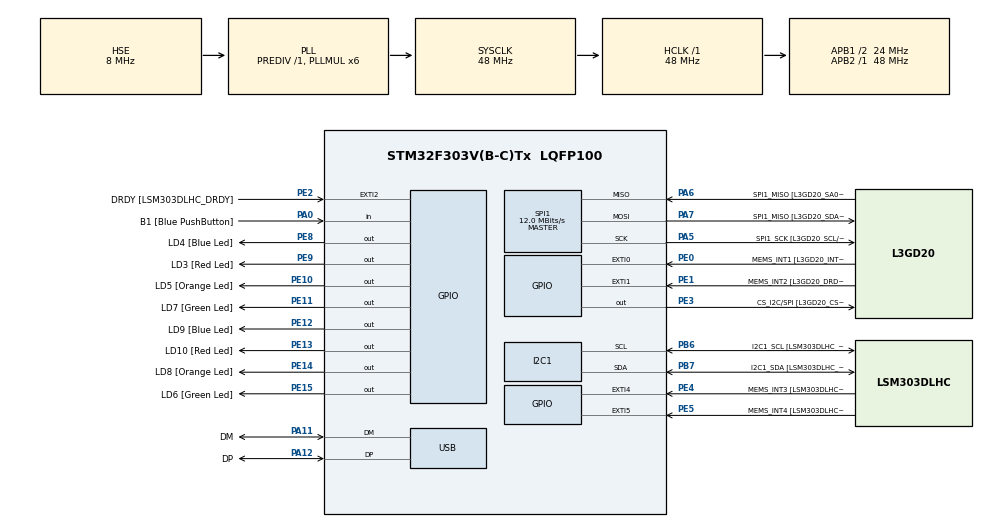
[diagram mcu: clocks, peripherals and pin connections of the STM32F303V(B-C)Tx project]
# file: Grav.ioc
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I2C1.Timing-I2C=0x2000090E
Mcu.Family=STM32F3
Mcu.Name=STM32F303V(B-C)Tx
Mcu.Package=LQFP100
NVIC.PriorityGroup=NVIC_PRIORITYGROUP_0
NVIC.USB_LP_CAN_RX0_IRQn=true\:0\:0\:false\:false\:true\:false\:true\:true
PA0.GPIO_Label=B1 [Blue PushButton]
PA0.Signal=GPIO_Input
PA11.GPIO_Label=DM
PA11.Mode=Device
PA11.Signal=USB_DM
PA12.GPIO_Label=DP
PA12.Mode=Device
PA12.Signal=USB_DP
PA13.GPIO_Label=SWDIO
PA13.Mode=Serial_Wire
PA13.Signal=SYS_JTMS-SWDIO
PA14.GPIO_Label=SWCLK
PA14.Mode=Serial_Wire
PA14.Signal=SYS_JTCK-SWCLK
PA5.GPIO_Label=SPI1_SCK [L3GD20_SCL/SPC]
PA5.Mode=Full_Duplex_Master
PA5.Signal=SPI1_SCK
PA6.GPIO_Label=SPI1_MISO [L3GD20_SA0/SDO]
PA6.Mode=Full_Duplex_Master
PA6.Signal=SPI1_MISO
PA7.GPIO_Label=SPI1_MISO [L3GD20_SDA/SDI/SDO]
PA7.Mode=Full_Duplex_Master
PA7.Signal=SPI1_MOSI
PB3.GPIO_Label=SWO
PB3.Signal=SYS_JTDO-TRACESWO
PB6.GPIO_Label=I2C1_SCL [LSM303DLHC_SCL]
PB6.GPIO_Pu=GPIO_PULLUP
PB6.Mode=I2C
PB6.Signal=I2C1_SCL
PB7.GPIO_Label=I2C1_SDA [LSM303DLHC_SDA]
PB7.GPIO_Pu=GPIO_PULLUP
PB7.Mode=I2C
PB7.Signal=I2C1_SDA
PC14-OSC32_IN.GPIO_Label=OSC32_IN
PC14-OSC32_IN.Signal=RCC_OSC32_IN
PC15-OSC32_OUT.GPIO_Label=OSC32_OUT
PC15-OSC32_OUT.Signal=RCC_OSC32_OUT
PE0.GPIO_Label=MEMS_INT1 [L3GD20_INT1]
PE0.GPIO_ModeDefaultEXTI=GPIO_MODE_EVT_RISING
PE0.Signal=GPXTI0
PE1.GPIO_Label=MEMS_INT2 [L3GD20_DRDY/INT2]
PE1.GPIO_ModeDefaultEXTI=GPIO_MODE_EVT_RISING
PE1.Signal=GPXTI1
PE10.GPIO_Label=LD5 [Orange Led]
PE10.Signal=GPIO_Output
PE11.GPIO_Label=LD7 [Green Led]
PE11.Signal=GPIO_Output
PE12.GPIO_Label=LD9 [Blue Led]
PE12.Signal=GPIO_Output
PE13.GPIO_Label=LD10 [Red Led]
PE13.Signal=GPIO_Output
PE14.GPIO_Label=LD8 [Orange Led]
PE14.Signal=GPIO_Output
PE15.GPIO_Label=LD6 [Green Led]
PE15.Signal=GPIO_Output
PE2.GPIO_Label=DRDY [LSM303DLHC_DRDY]
PE2.GPIO_ModeDefaultEXTI=GPIO_MODE_EVT_RISING
PE2.Signal=GPXTI2
PE3.GPIO_Label=CS_I2C/SPI [L3GD20_CS_I2C/SPI]
PE3.Signal=GPIO_Output
PE4.GPIO_Label=MEMS_INT3 [LSM303DLHC_INT1]
PE4.GPIO_ModeDefaultEXTI=GPIO_MODE_EVT_RISING
PE4.Signal=GPXTI4
PE5.GPIO_Label=MEMS_INT4 [LSM303DLHC_INT2]
PE5.GPIO_ModeDefaultEXTI=GPIO_MODE_EVT_RISING
PE5.Signal=GPXTI5
PE8.GPIO_Label=LD4 [Blue Led]
PE8.Signal=GPIO_Output
PE9.GPIO_Label=LD3 [Red Led]
PE9.Signal=GPIO_Output
PF0-OSC_IN.GPIO_Label=OSC_IN
PF0-OSC_IN.Mode=HSE-External-Clock-Source
PF0-OSC_IN.Signal=RCC_OSC_IN
PF1-OSC_OUT.GPIO_Label=OSC_OUT
PF1-OSC_OUT.Signal=RCC_OSC_OUT
ProjectManager.HeapSize=0x200
ProjectManager.StackSize=0x400
ProjectManager.TargetToolchain=STM32CubeIDE
RCC.AHBFreq_Value=48000000
RCC.APB1CLKDivider=RCC_HCLK_DIV2
RCC.APB1Freq_Value=24000000
RCC.APB1TimFreq_Value=48000000
RCC.APB2Freq_Value=48000000
RCC.APB2TimFreq_Value=48000000
RCC.CortexFreq_Value=48000000
RCC.HCLKFreq_Value=48000000
RCC.HSE_VALUE=8000000
RCC.HSI_VALUE=8000000
RCC.LSE_VALUE=32768
RCC.PLLMUL=RCC_PLL_MUL6
RCC.SYSCLKFreq_VALUE=48000000
RCC.SYSCLKSourceVirtual=RCC_SYSCLKSOURCE_PLLCLK
RCC.USBFreq_Value=48000000
SPI1.BaudRatePrescaler=SPI_BAUDRATEPRESCALER_4
SPI1.BaudRatePrescaler-Full_Duplex_Master=SPI_BAUDRATEPRESCALER_2
SPI1.CalculateBaudRate=12.0 MBits/s
SPI1.CalculateBaudRate-Full_Duplex_Master=24.0 MBits/s
SPI1.Direction=SPI_DIRECTION_2LINES
SPI1.Mode=SPI_MODE_MASTER
SPI1.Mode-Full_Duplex_Master=SPI_MODE_MASTER
SPI1.VirtualType=VM_MASTER
USB_DEVICE.CLASS_NAME_FS=CDC
USB_DEVICE.VirtualMode=Cdc
USB_DEVICE.VirtualModeFS=Cdc_FS
VP_USB_DEVICE_VS_USB_DEVICE_CDC_FS.Mode=CDC_FS
board=STM32F3DISCOVERY

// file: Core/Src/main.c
/* USER CODE BEGIN Header */
/**
  ******************************************************************************
  * @file           : main.c
  * @brief          : Main program body
  ******************************************************************************
  * @attention
  *
  * Copyright (c) 2024 STMicroelectronics.
  * All rights reserved.
  *
  * This software is licensed under terms that can be found in the LICENSE file
  * in the root directory of this software component.
  * If no LICENSE file comes with this software, it is provided AS-IS.
  *
  ******************************************************************************
  */
/* USER CODE END Header */
#include "main.h"
#include "usb_device.h"

I2C_HandleTypeDef hi2c1;

SPI_HandleTypeDef hspi1;

void SystemClock_Config(void);
static void MX_GPIO_Init(void);
static void MX_I2C1_Init(void);
static void MX_SPI1_Init(void);

int main(void)
{

  /* MCU Configuration--------------------------------------------------------*/

  /* Reset of all peripherals, Initializes the Flash interface and the Systick. */
  HAL_Init();

  /* Configure the system clock */
  SystemClock_Config();

  /* Initialize all configured peripherals */
  MX_GPIO_Init();
  MX_I2C1_Init();
  MX_SPI1_Init();
  MX_USB_DEVICE_Init();
  BSP_ACCELERO_Init();
  COMPASSACCELERO_IO_Init();

  /* Infinite loop */
  /* USER CODE BEGIN WHILE */
  while (1)
  {
	int16_t accelData[3];
    /* USER CODE END WHILE */
    /* USER CODE BEGIN 3 */
	BSP_ACCELERO_GetXYZ(accelData);
	showLevel(accelData);
	transmitCoords(accelData);
	HAL_Delay(100);
  }
  /* USER CODE END 3 */
}

void SystemClock_Config(void)
{
  RCC_OscInitTypeDef RCC_OscInitStruct = {0};
  RCC_ClkInitTypeDef RCC_ClkInitStruct = {0};
  RCC_PeriphCLKInitTypeDef PeriphClkInit = {0};

  /** Initializes the RCC Oscillators according to the specified parameters
  * in the RCC_OscInitTypeDef structure.
  */
  RCC_OscInitStruct.OscillatorType = RCC_OSCILLATORTYPE_HSI|RCC_OSCILLATORTYPE_HSE;
  RCC_OscInitStruct.HSEState = RCC_HSE_BYPASS;
  RCC_OscInitStruct.HSEPredivValue = RCC_HSE_PREDIV_DIV1;
  RCC_OscInitStruct.HSIState = RCC_HSI_ON;
  RCC_OscInitStruct.HSICalibrationValue = RCC_HSICALIBRATION_DEFAULT;
  RCC_OscInitStruct.PLL.PLLState = RCC_PLL_ON;
  RCC_OscInitStruct.PLL.PLLSource = RCC_PLLSOURCE_HSE;
  RCC_OscInitStruct.PLL.PLLMUL = RCC_PLL_MUL6;
  if (HAL_RCC_OscConfig(&RCC_OscInitStruct) != HAL_OK)
  {
    Error_Handler();
  }

  /** Initializes the CPU, AHB and APB buses clocks
  */
  RCC_ClkInitStruct.ClockType = RCC_CLOCKTYPE_HCLK|RCC_CLOCKTYPE_SYSCLK
                              |RCC_CLOCKTYPE_PCLK1|RCC_CLOCKTYPE_PCLK2;
  RCC_ClkInitStruct.SYSCLKSource = RCC_SYSCLKSOURCE_PLLCLK;
  RCC_ClkInitStruct.AHBCLKDivider = RCC_SYSCLK_DIV1;
  RCC_ClkInitStruct.APB1CLKDivider = RCC_HCLK_DIV2;
  RCC_ClkInitStruct.APB2CLKDivider = RCC_HCLK_DIV1;

  if (HAL_RCC_ClockConfig(&RCC_ClkInitStruct, FLASH_LATENCY_1) != HAL_OK)
  {
    Error_Handler();
  }
  PeriphClkInit.PeriphClockSelection = RCC_PERIPHCLK_USB|RCC_PERIPHCLK_I2C1;
  PeriphClkInit.I2c1ClockSelection = RCC_I2C1CLKSOURCE_HSI;
  PeriphClkInit.USBClockSelection = RCC_USBCLKSOURCE_PLL;
  if (HAL_RCCEx_PeriphCLKConfig(&PeriphClkInit) != HAL_OK)
  {
    Error_Handler();
  }
}

static void MX_I2C1_Init(void)
{

  hi2c1.Instance = I2C1;
  hi2c1.Init.Timing = 0x2000090E;
  hi2c1.Init.OwnAddress1 = 0;
  hi2c1.Init.AddressingMode = I2C_ADDRESSINGMODE_7BIT;
  hi2c1.Init.DualAddressMode = I2C_DUALADDRESS_DISABLE;
  hi2c1.Init.OwnAddress2 = 0;
  hi2c1.Init.OwnAddress2Masks = I2C_OA2_NOMASK;
  hi2c1.Init.GeneralCallMode = I2C_GENERALCALL_DISABLE;
  hi2c1.Init.NoStretchMode = I2C_NOSTRETCH_DISABLE;
  if (HAL_I2C_Init(&hi2c1) != HAL_OK)
  {
    Error_Handler();
  }

  /** Configure Analogue filter
  */
  if (HAL_I2CEx_ConfigAnalogFilter(&hi2c1, I2C_ANALOGFILTER_ENABLE) != HAL_OK)
  {
    Error_Handler();
  }

  /** Configure Digital filter
  */
  if (HAL_I2CEx_ConfigDigitalFilter(&hi2c1, 0) != HAL_OK)
  {
    Error_Handler();
  }

}

static void MX_SPI1_Init(void)
{

  /* SPI1 parameter configuration*/
  hspi1.Instance = SPI1;
  hspi1.Init.Mode = SPI_MODE_MASTER;
  hspi1.Init.Direction = SPI_DIRECTION_2LINES;
  hspi1.Init.DataSize = SPI_DATASIZE_4BIT;
  hspi1.Init.CLKPolarity = SPI_POLARITY_LOW;
  hspi1.Init.CLKPhase = SPI_PHASE_1EDGE;
  hspi1.Init.NSS = SPI_NSS_SOFT;
  hspi1.Init.BaudRatePrescaler = SPI_BAUDRATEPRESCALER_4;
  hspi1.Init.FirstBit = SPI_FIRSTBIT_MSB;
  hspi1.Init.TIMode = SPI_TIMODE_DISABLE;
  hspi1.Init.CRCCalculation = SPI_CRCCALCULATION_DISABLE;
  hspi1.Init.CRCPolynomial = 7;
  hspi1.Init.CRCLength = SPI_CRC_LENGTH_DATASIZE;
  hspi1.Init.NSSPMode = SPI_NSS_PULSE_ENABLE;
  if (HAL_SPI_Init(&hspi1) != HAL_OK)
  {
    Error_Handler();
  }

}

static void MX_GPIO_Init(void)
{
  GPIO_InitTypeDef GPIO_InitStruct = {0};

  /* GPIO Ports Clock Enable */
  __HAL_RCC_GPIOE_CLK_ENABLE();
  __HAL_RCC_GPIOC_CLK_ENABLE();
  __HAL_RCC_GPIOF_CLK_ENABLE();
  __HAL_RCC_GPIOA_CLK_ENABLE();
  __HAL_RCC_GPIOB_CLK_ENABLE();

  /*Configure GPIO pin Output Level */
  HAL_GPIO_WritePin(GPIOE, CS_I2C_SPI_Pin|LD4_Pin|LD3_Pin|LD5_Pin
                          |LD7_Pin|LD9_Pin|LD10_Pin|LD8_Pin
                          |LD6_Pin, GPIO_PIN_RESET);

  /*Configure GPIO pins : DRDY_Pin MEMS_INT3_Pin MEMS_INT4_Pin MEMS_INT1_Pin
                           MEMS_INT2_Pin */
  GPIO_InitStruct.Pin = DRDY_Pin|MEMS_INT3_Pin|MEMS_INT4_Pin|MEMS_INT1_Pin
                          |MEMS_INT2_Pin;
  GPIO_InitStruct.Mode = GPIO_MODE_EVT_RISING;
  GPIO_InitStruct.Pull = GPIO_NOPULL;
  HAL_GPIO_Init(GPIOE, &GPIO_InitStruct);

  /*Configure GPIO pins : CS_I2C_SPI_Pin LD4_Pin LD3_Pin LD5_Pin
                           LD7_Pin LD9_Pin LD10_Pin LD8_Pin
                           LD6_Pin */
  GPIO_InitStruct.Pin = CS_I2C_SPI_Pin|LD4_Pin|LD3_Pin|LD5_Pin
                          |LD7_Pin|LD9_Pin|LD10_Pin|LD8_Pin
                          |LD6_Pin;
  GPIO_InitStruct.Mode = GPIO_MODE_OUTPUT_PP;
  GPIO_InitStruct.Pull = GPIO_NOPULL;
  GPIO_InitStruct.Speed = GPIO_SPEED_FREQ_LOW;
  HAL_GPIO_Init(GPIOE, &GPIO_InitStruct);

  /*Configure GPIO pin : B1_Pin */
  GPIO_InitStruct.Pin = B1_Pin;
  GPIO_InitStruct.Mode = GPIO_MODE_INPUT;
  GPIO_InitStruct.Pull = GPIO_NOPULL;
  HAL_GPIO_Init(B1_GPIO_Port, &GPIO_InitStruct);

}

/* USER CODE BEGIN 4 */

void transmitCoords(int16_t* coords) {
	uint8_t data[6];
	for (uint16_t i = 0; i < 3; ++i) {
	  data[i * 2] = (uint8_t)(coords[i] & 0xFF);
	  data[i * 2 + 1] = (uint8_t)((coords[i] >> 8) & 0xFF);
	}
	CDC_Transmit_FS(data, 6);
}

void showLevel(int16_t* coords) {
	int16_t x = coords[0];
	int16_t y = coords[1];

	BSP_LED_Off(LED_BLUE);
	BSP_LED_Off(LED_BLUE_2);
	BSP_LED_Off(LED_ORANGE);
	BSP_LED_Off(LED_ORANGE_2);
	BSP_LED_Off(LED_GREEN);
	BSP_LED_Off(LED_GREEN_2);
	BSP_LED_Off(LED_RED);
	BSP_LED_Off(LED_RED_2);

	if (x < -8000 && y < -8000) {
		BSP_LED_On(LED_BLUE_2);
	} else if (x < -8000 && y > 8000) {
		BSP_LED_On(LED_ORANGE);
	} else if (x > 8000 && y < -8000) {
		BSP_LED_On(LED_ORANGE_2);
	} else if (x > 8000 && y > 8000) {
		BSP_LED_On(LED_BLUE);
	} else if (x < -8000) {
		BSP_LED_On(LED_GREEN_2);
	} else if (x > 8000) {
		BSP_LED_On(LED_GREEN);
	} else if (y < -8000) {
		BSP_LED_On(LED_RED_2);
	} else if (y > 8000) {
		BSP_LED_On(LED_RED);
	}
}

/* USER CODE END 4 */

void Error_Handler(void)
{
  __disable_irq();
  while (1)
  {
  }
}
